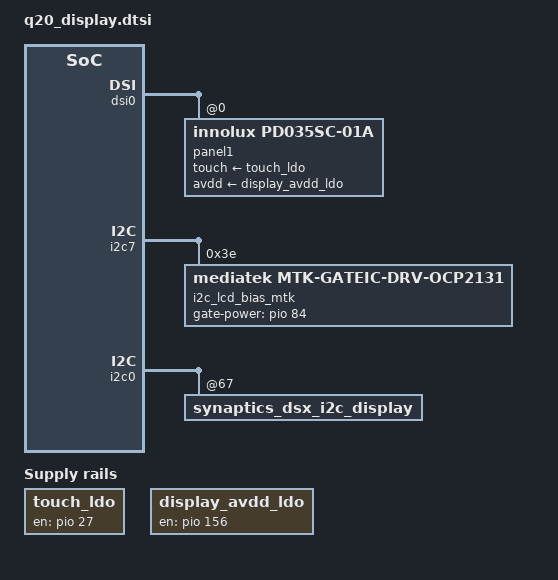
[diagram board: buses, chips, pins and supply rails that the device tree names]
#include "qx0_display.dtsi"

&odm {
	touch_ldo: fixed-regulator-1 {
		compatible = "regulator-fixed";
		regulator-name = "touch_ldo";
		gpio = <&pio 27 0>;
		enable-active-high;
		regulator-boot-on;
	};

	display_avdd_ldo: fixed-regulator-2 {
		compatible = "regulator-fixed";
		regulator-name = "display_1v8_ldo";
		gpio = <&pio 156 0>;
		enable-active-high;
		regulator-boot-on;
	};
};

&mtk_leds {
	compatible = "mediatek,i2c-leds";

	backlight {
		max-hw-brightness = <25>;
		led_mode = <6>;
		gate_enable = <0>;
		pwm_config = <0 1 0 0 0>;
	};
};

&dsi0 {
	panel1@0 {
		compatible = "innolux,pd035sc-01a";
		touch-supply = <&touch_ldo>;
		avdd-supply = <&display_avdd_ldo>;
	};
};

&i2c7 {
	i2c_lcd_bias_mtk:i2c_lcd_bias@3e {
		compatible = "mediatek,mtk-gateic-drv-ocp2131";
		reg = <0x3e>;
		id = <6>;
		gate-power-gpios = <&pio 84 0>;
		status = "okay";
	};
};

&i2c0 {
	synaptics_dsx_i2c_display@67 {
		synaptics,reset-delay-ms = <200>;
		synaptics,reset-active-ms = <20>;
	};
};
